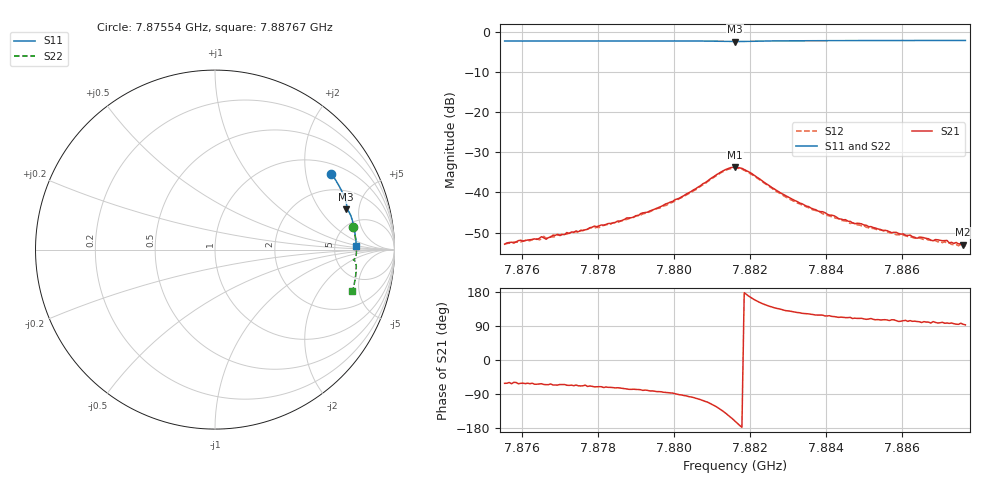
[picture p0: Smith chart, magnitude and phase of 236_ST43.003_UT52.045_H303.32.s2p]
#  HZ  S  DB  R  50.00
! Rohde & Schwarz Vector Network Analyzer
! Rohde-Schwarz,ZNB20-2Port,1311601062101988,3.16
! Created: UTC 1/12/2023, 6:46:59 PM
! freq[Hz]  db:S11  ang:S11  db:S21  ang:S21  db:S12  ang:S12  db:S22  ang:S22
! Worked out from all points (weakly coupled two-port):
!   201 points, 7.87554 GHz to 7.88767 GHz, reference 50 ohm
!   highest |S21| = -33.70 dB at 7.88161 GHz (marker M1); lowest = -53.0 dB at 7.88761 GHz (marker M2)
!   lowest |S11| = -2.4 dB at 7.88161 GHz (marker M3), VSWR 7.43, Z = 169 + j181 ohm
!   |S11| at or under -10 dB: nowhere
!   |S22| runs from -2.2 to -1.9 dB; largest |S21 - S12| = 0.0015
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7.87554e9  -2.23 33.1  -52.89 -61.6  -52.83 -61.7  -2.15 9.4
7.876389e9  -2.21 30.8  -51.69 -63.9  -51.62 -66.3  -2.13 7.4
7.87651e9  -2.21 30.4  -51.03 -62.6  -51.64 -67.2  -2.13 7.1
7.876571e9  -2.21 30.3  -51.31 -64.5  -50.94 -67.0  -2.13 7.0
7.876631e9  -2.21 30.1  -51.65 -65.2  -51.37 -67.3  -2.11 6.8
7.876813e9  -2.21 29.6  -50.63 -65.9  -51.06 -68.4  -2.11 6.4
7.877602e9  -2.19 27.4  -49.47 -68.2  -49.50 -72.3  -2.10 4.5
7.878512e9  -2.19 25.0  -47.13 -73.3  -47.46 -77.9  -2.08 2.5
7.879603e9  -2.18 22.0  -43.73 -83.4  -43.91 -87.3  -2.07 -0.1
7.880453e9  -2.20 19.5  -39.73 -97.6  -39.95 -101.2  -2.08 -2.2
7.881241e9  -2.30 17.5  -34.86 -131.7  -35.03 -134.8  -2.18 -4.0
7.881605e9  -2.35 17.1  -33.70 -161.5  -33.89 -164.7  -2.24 -4.1
7.881969e9  -2.30 16.8  -34.85 168.3  -35.06 165.2  -2.18 -4.3
7.882939e9  -2.16 14.2  -40.81 130.3  -41.13 127.1  -2.03 -6.4
7.883667e9  -2.13 12.2  -44.13 119.8  -44.33 116.9  -2.00 -8.1
7.884638e9  -2.11 9.5  -47.20 112.5  -47.73 108.3  -1.96 -10.3
7.885669e9  -2.10 6.8  -49.77 104.1  -50.03 102.2  -1.96 -12.6
7.886397e9  -2.09 4.9  -51.44 101.5  -51.41 97.9  -1.95 -14.2
7.887185e9  -2.09 2.8  -51.96 97.6  -52.68 96.6  -1.95 -15.9
7.887246e9  -2.08 2.7  -52.55 96.6  -52.55 94.7  -1.94 -16.1
7.88761e9  -2.08 1.7  -52.99 94.3  -53.37 92.2  -1.95 -16.8
7.88767e9  -2.08 1.6  -52.98 92.8  -53.39 93.2  -1.93 -16.9
